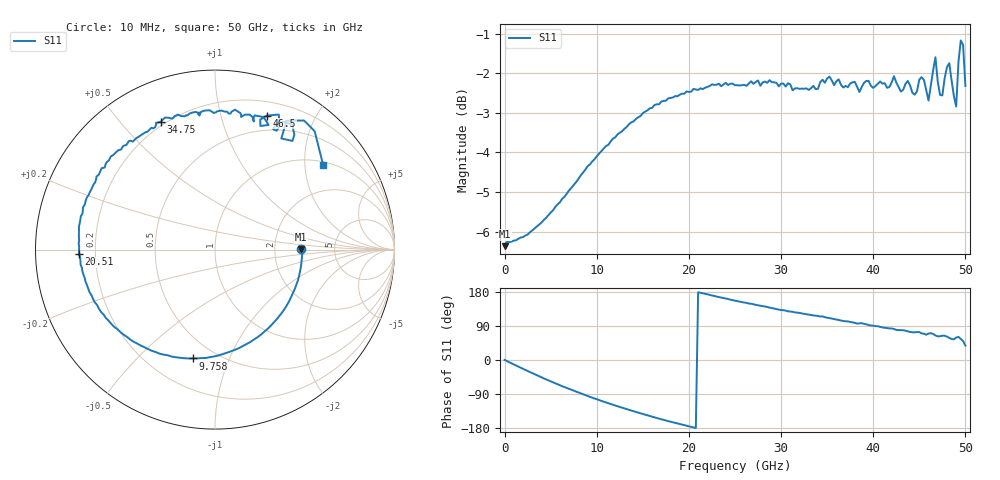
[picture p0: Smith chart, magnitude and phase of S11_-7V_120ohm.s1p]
!Agilent Technologies,N5227A,US51270434,A.10.00.00
!Agilent N5227A: A.10.00.00
!Date: Thursday, February 26, 2026 12:34:30
!Correction: S11(Full 1 Port(1))
!S1P File: Measurement: S11:
# Hz S  dB  R 50
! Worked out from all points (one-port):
!   201 points, 10 MHz to 50 GHz, reference 50 ohm
!   lowest |S11| = -6.4 dB at 10 MHz (marker M1), VSWR 2.85, Z = 143 + j0.694 ohm
!   |S11| at or under -10 dB: nowhere
!   S11 on the Smith chart (normalised r, x): 10 MHz: 2.85, +0.01; 9.758 GHz: 0.38, -0.74; 20.51 GHz: 0.14, -0.02; 34.75 GHz: 0.18, +0.65; 46.5 GHz: 0.34, +1.41; 50 GHz: 1.09, +2.48
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1e7  -6.36 0.2
3.0094e9  -5.97 -34.6
6.25875e9  -5.17 -69.2
9.75805e9  -4.17 -101.5
1.25075e10  -3.50 -124.0
1.575685e10  -2.89 -147.9
1.875625e10  -2.58 -167.6
2.05059e10  -2.39 -178.0
2.5005e10  -2.30 156.7
2.875425e10  -2.18 138.2
3.125375e10  -2.43 127.2
3.475305e10  -2.24 113.1
3.75025e10  -2.26 100.6
4.375125e10  -2.19 75.6
4.45011e10  -2.54 73.1
4.5001e10  -2.16 73.5
4.575085e10  -2.43 66.7
4.60008e10  -2.69 69.8
4.65007e10  -1.93 68.8
4.675065e10  -1.60 64.7
4.725055e10  -2.55 62.6
4.80004e10  -1.85 61.7
4.875025e10  -2.58 54.5
4.90002e10  -2.84 59.2
4.925015e10  -1.71 61.0
4.95001e10  -1.17 55.4
4.975005e10  -1.29 49.9
5e10  -2.32 38.1
